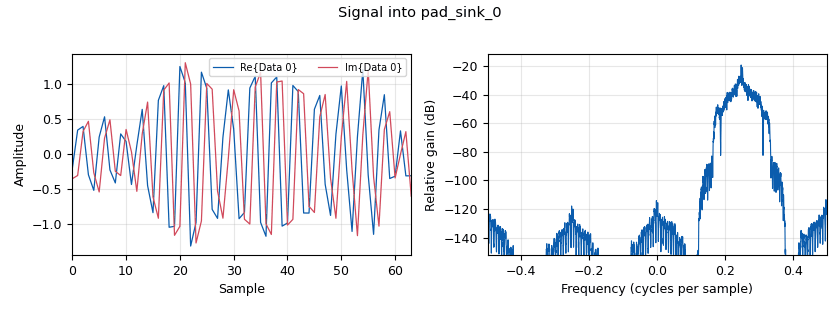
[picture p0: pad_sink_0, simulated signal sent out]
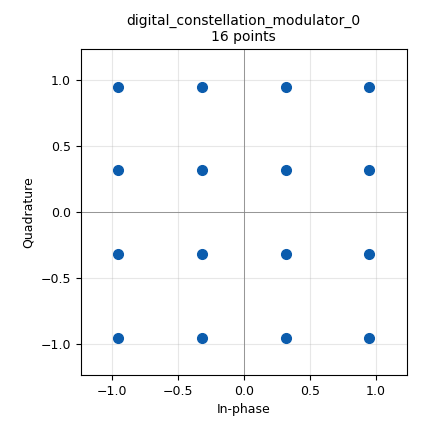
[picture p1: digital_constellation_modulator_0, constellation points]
options:
  parameters:
    generate_options: hb
    id: signal_16qam
    output_language: python
    title: 16QAM signal
  states: {}

blocks:
- name: run_time
  id: variable
  parameters:
    value: '1.0'
  states: {}
- name: variable_constellation_0
  id: variable_constellation
  parameters:
    precision: '8'
    type: 16qam
  states: {}
- name: analog_random_source_x_0
  id: analog_random_source_x
  parameters:
    max: '2'
    min: '0'
    num_samps: round(run_time * signal_bandwidth) * 4
    repeat: 'True'
    type: byte
  states: {}
- name: analog_sig_source_x_0
  id: analog_sig_source_x
  parameters:
    amp: '1'
    freq: offset_freq
    offset: '0'
    phase: '0'
    samp_rate: samp_rate
    type: complex
    waveform: analog.GR_SIN_WAVE
  states: {}
- name: blocks_multiply_xx_0
  id: blocks_multiply_xx
  parameters:
    type: complex
  states: {}
- name: blocks_throttle_0_0
  id: blocks_throttle
  parameters:
    samples_per_second: samp_rate
    type: complex
  states: {state: disabled}
- name: blocks_throttle_0_0_0
  id: blocks_throttle
  parameters:
    samples_per_second: samp_rate
    type: byte
  states: {state: disabled}
- name: digital_constellation_modulator_0
  id: digital_constellation_modulator
  parameters:
    constellation: variable_constellation_0
    differential: 'True'
    excess_bw: '0.35'
    samples_per_symbol: '2'
  states: {}
- name: offset_freq
  id: parameter
  parameters:
    label: Signal Central Frequency
    value: 5e6
  states: {}
- name: pad_sink_0
  id: pad_sink
  parameters:
    label: out
    type: complex
  states: {}
- name: rational_resampler_xxx_0
  id: rational_resampler_xxx
  parameters:
    decim: int(signal_bandwidth)
    interp: int(samp_rate)
    taps: ''
    type: ccc
  states: {}
- name: run_time
  id: parameter
  parameters:
    label: Running time in seconds
    value: '1.0'
  states: {state: disabled}
- name: samp_rate
  id: parameter
  parameters:
    label: Baseband Sampling Rate
    value: 20e6
  states: {}
- name: signal_bandwidth
  id: parameter
  parameters:
    label: Signal Bandwidth
    value: 5e6
  states: {}

connections:
- [analog_random_source_x_0, '0', blocks_throttle_0_0_0, '0']
- [analog_random_source_x_0, '0', digital_constellation_modulator_0, '0']
- [analog_sig_source_x_0, '0', blocks_multiply_xx_0, '1']
- [analog_sig_source_x_0, '0', blocks_throttle_0_0, '0']
- [blocks_multiply_xx_0, '0', pad_sink_0, '0']
- [blocks_throttle_0_0, '0', blocks_multiply_xx_0, '1']
- [blocks_throttle_0_0_0, '0', digital_constellation_modulator_0, '0']
- [digital_constellation_modulator_0, '0', rational_resampler_xxx_0, '0']
- [rational_resampler_xxx_0, '0', blocks_multiply_xx_0, '0']

metadata:
  file_format: 1
